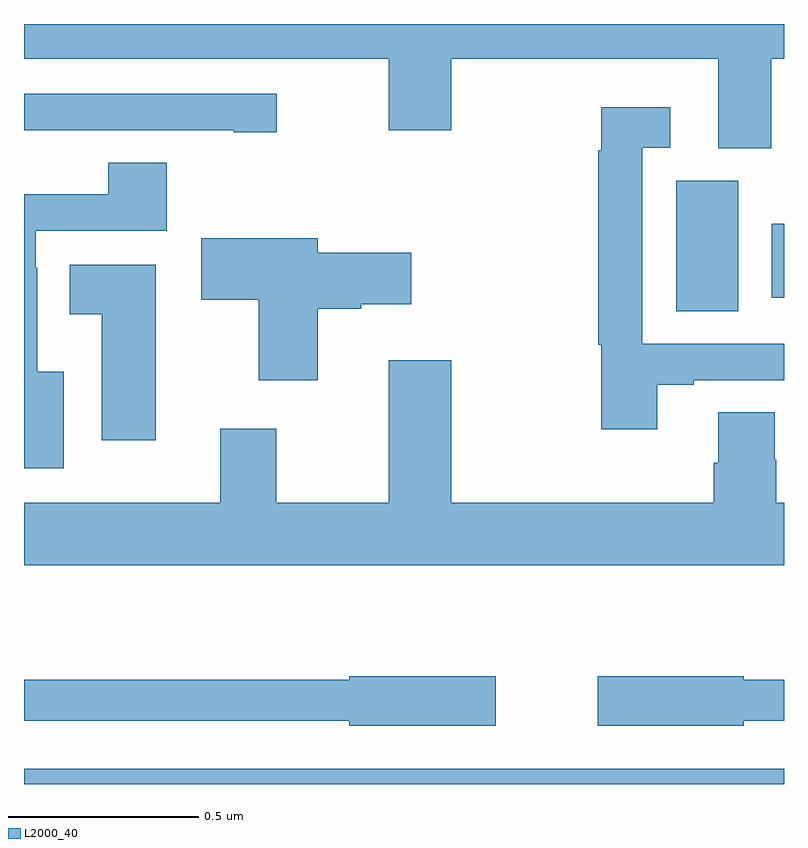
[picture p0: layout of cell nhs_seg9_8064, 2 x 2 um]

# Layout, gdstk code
import gdstk
lib = gdstk.Library(unit=1e-6, precision=1e-09)
def R(c, l, rs):  # rectangles x0, y0, x1, y1
    for r in rs: c.add(gdstk.rectangle(r[:2], r[2:], *l))
def P(c, l, *ps):  # polygons
    for p in ps: c.add(gdstk.Polygon(p, *l))
L2000_40 = (2000, 40)

nhs_seg9_8064 = lib.new_cell('nhs_seg9_8064')
R(nhs_seg9_8064, L2000_40, [(212,1206.5,214,1206.54), (213.716,1207.744,213.88,1208.088), (213.968,1207.779,214,1207.975)])
P(nhs_seg9_8064, L2000_40, [(213.967,1208.408),(214,1208.408),(214,1208.5),(212,1208.5),(212,1208.408),(212.96,1208.408),(212.96,1208.22),(213.124,1208.22),(213.124,1208.408),(213.827,1208.408),(213.827,1208.173),(213.967,1208.173)],
  [(212.665,1208.316),(212,1208.316),(212,1208.22),(212.552,1208.22),(212.552,1208.215),(212.665,1208.215)],
  [(213.667,1207.551),(213.763,1207.551),(213.763,1207.563),(214,1207.563),(214,1207.659),(213.627,1207.659),(213.627,1208.175),(213.7,1208.175),(213.7,1208.281),(213.519,1208.281),(213.519,1208.168),(213.511,1208.168),(213.511,1207.656),(213.519,1207.656),(213.519,1207.434),(213.667,1207.434)],
  [(212.104,1207.585),(212.035,1207.585),(212.035,1207.859),(212.031,1207.859),(212.031,1207.956),(212.375,1207.956),(212.375,1208.135),(212.222,1208.135),(212.222,1208.052),(212,1208.052),(212,1207.331),(212.104,1207.331)],
  [(212.773,1207.751),(212.888,1207.751),(212.888,1207.763),(213.019,1207.763),(213.019,1207.898),(212.773,1207.898),(212.773,1207.936),(212.466,1207.936),(212.466,1207.774),(212.618,1207.774),(212.618,1207.563),(212.773,1207.563)],
  [(212.347,1207.867),(212.12,1207.867),(212.12,1207.736),(212.204,1207.736),(212.204,1207.404),(212.347,1207.404)],
  [(214,1207.24),(213.98,1207.24),(213.98,1207.353),(213.975,1207.353),(213.975,1207.478),(213.827,1207.478),(213.827,1207.346),(213.815,1207.346),(213.815,1207.24),(213.124,1207.24),(213.124,1207.615),(212.96,1207.615),(212.96,1207.24),(212.664,1207.24),(212.664,1207.435),(212.516,1207.435),(212.516,1207.24),(212,1207.24),(212,1207.076),(214,1207.076)],
  [(213.894,1206.666),(214,1206.666),(214,1206.775),(213.894,1206.775),(213.894,1206.783),(213.51,1206.783),(213.51,1206.653),(213.894,1206.653)],
  [(213.241,1206.783),(212.856,1206.783),(212.856,1206.775),(212,1206.775),(212,1206.666),(212.856,1206.666),(212.856,1206.653),(213.241,1206.653)])

lib.write_gds('nhs_seg9_8064.gds')
